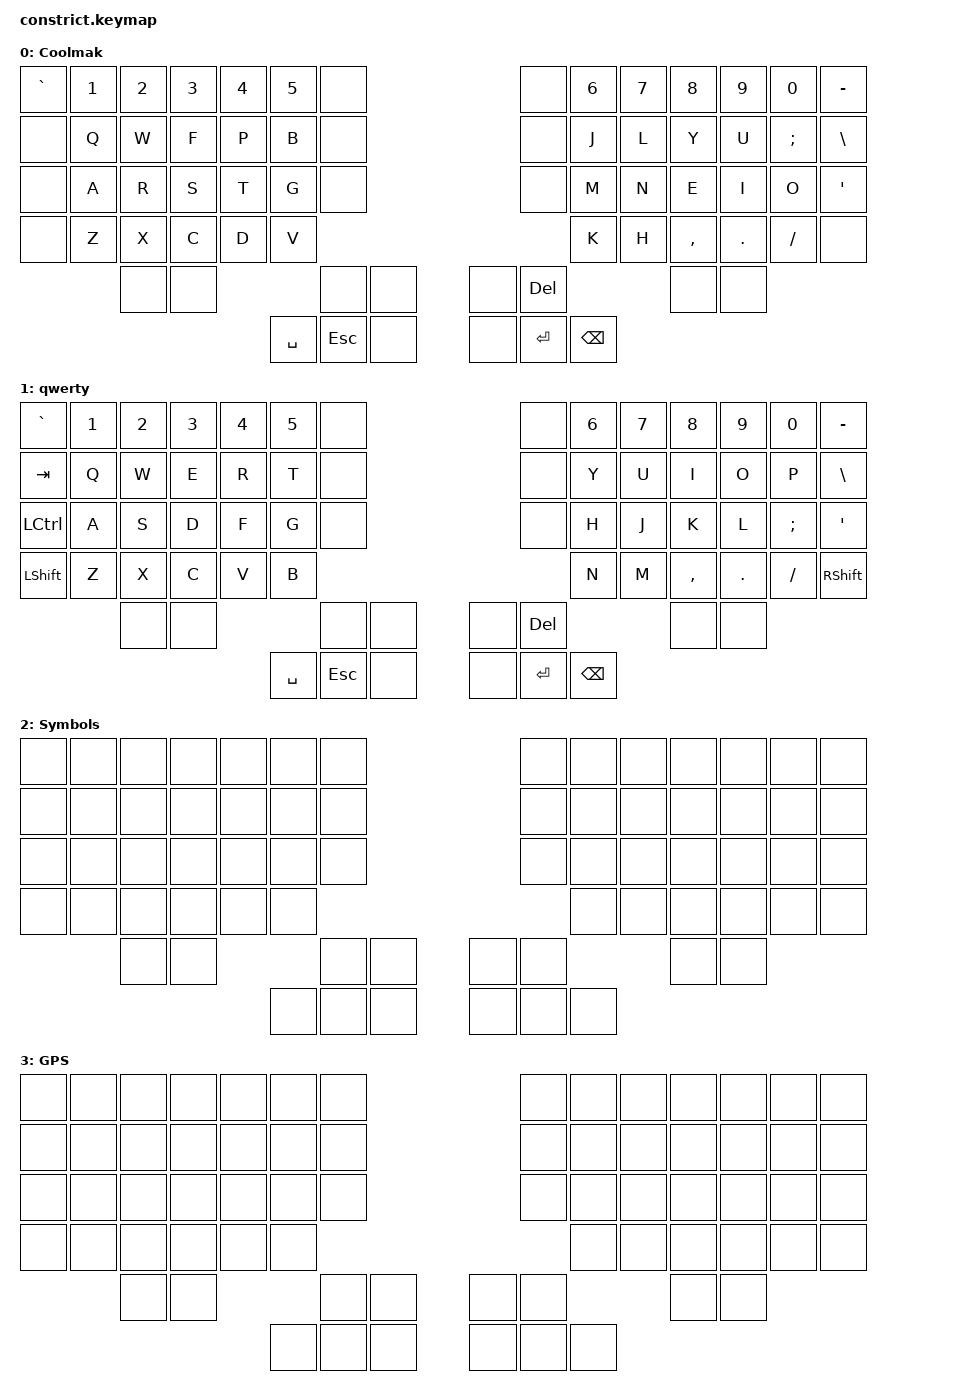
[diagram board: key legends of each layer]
#include <behaviors.dtsi>
#include <dt-bindings/zmk/keys.h>
#include <dt-bindings/zmk/outputs.h>

#define QWE 1
#define SYM 2
#define NAV 3

/ {
    keymap {
        compatible = "zmk,keymap";
        col {
            display-name="Coolmak";
            bindings = <
            &kp GRAV &kp N1 &kp N2 &kp N3 &kp N4 &kp N5 &none                 &none &kp N6 &kp N7 &kp N8    &kp N9     &kp N0    &kp MINUS
            &none    &kp Q  &kp W  &kp F  &kp P  &kp B  &none                 &none &kp J  &kp L  &kp Y     &kp U      &kp SEMI  &kp BACKSLASH
            &none    &kp A  &kp R  &kp S  &kp T  &kp G  &none                 &none &kp M  &kp N  &kp E     &kp I      &kp O     &kp SINGLE_QUOTE
            &none    &kp Z  &kp X  &kp C  &kp D  &kp V                              &kp K  &kp H  &kp COMMA &kp PERIOD &kp SLASH &none
                            &none  &none                                                          &none  &none 
                                          &none     &none                 &none &kp DEL
                                          &kp SPACE &kp ESC &none     &none &kp ENTER &kp BSPC
            >;
        };

        qwerty {
            display-name="qwerty";
            bindings = <
            &kp GRAV   &kp N1 &kp N2 &kp N3 &kp N4 &kp N5 &none                 &none &kp N6 &kp N7 &kp N8    &kp N9     &kp N0    &kp MINUS
            &kp TAB    &kp Q  &kp W  &kp E  &kp R  &kp T  &none                 &none &kp Y  &kp U  &kp I     &kp O      &kp P     &kp BACKSLASH
            &kp LCTRL  &kp A  &kp S  &kp D  &kp F  &kp G  &none                 &none &kp H  &kp J  &kp K     &kp L      &kp SEMI  &kp SINGLE_QUOTE
            &kp LSHIFT &kp Z  &kp X  &kp C  &kp V  &kp B                              &kp N  &kp M  &kp COMMA &kp PERIOD &kp SLASH &kp RSHIFT
                              &none  &none                                                          &none  &none 
                                          &none     &none                 &none &kp DEL
                                          &kp SPACE &kp ESC &none     &none &kp ENTER &kp BSPC
            >;
        };

        sym {
            display-name="Symbols";
            bindings = <
            &none &none &none &none &none &none &none                 &none &none &none &none &none &none &none 
            &none &none &none &none &none &none &none                 &none &none &none &none &none &none &none 
            &none &none &none &none &none &none &none                 &none &none &none &none &none &none &none 
            &none &none &none &none &none &none                             &none &none &none &none &none &none
                        &none  &none                                                    &none &none 
                                                &none &none     &none &none 
                                          &none &none &none     &none &none &none 
            >;
        };

        nav {
            display-name="GPS";
            bindings = <
            &none &none &none &none &none &none &none                 &none &none &none &none &none &none &none 
            &none &none &none &none &none &none &none                 &none &none &none &none &none &none &none 
            &none &none &none &none &none &none &none                 &none &none &none &none &none &none &none 
            &none &none &none &none &none &none                             &none &none &none &none &none &none
                        &none  &none                                                    &none &none 
                                                &none &none     &none &none 
                                          &none &none &none     &none &none &none 
            >;
        };
    };
};
